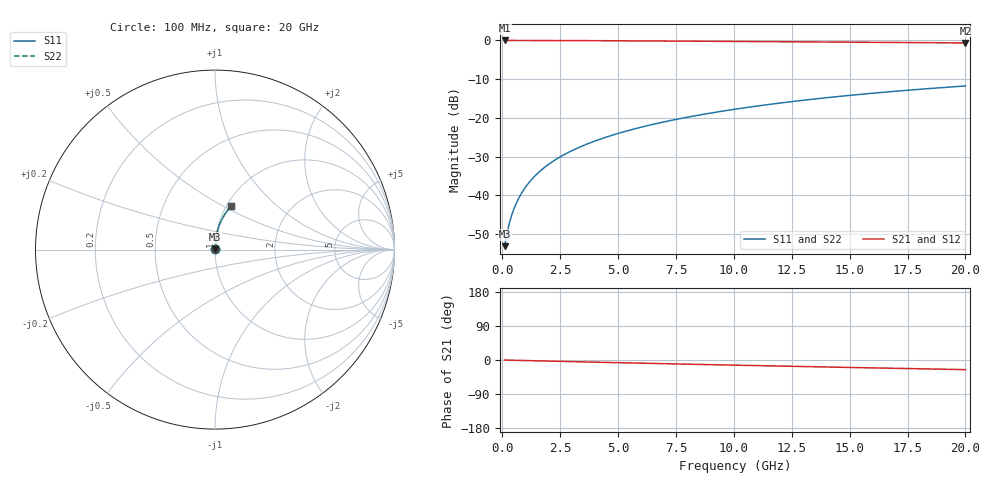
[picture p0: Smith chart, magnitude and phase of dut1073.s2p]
! Touchstone file exported from HFSS 2024.1.0
!  File:  C:/UserFiles/LocalFiles/RDL_TSV_Batchsim/temp_RDL_bottom_1073_1780052901.aedt
!  Generated:  07:10:38 PM May 29, 2026
!  Design:  RDL_bottom
!  Project:  temp_RDL_bottom_1073_1780052901
!  Setup:  Setup1
!  Solution:  Sweep
! Variables:
!  dtsv = 10.80580581um
!  hbump = 3um
!  htsv = 99.37um
!  ldown = 356.69um
!  lrdl = 100um
!  p = 40
!  p1 = 41.31um
!  rhole = 1um
!  t = 450um
!  tdown = 4.53um
!  trdl = 3.915915916um
!  wdown = 17.26um
!  wrdl = 20um
# GHz S MA R 50.000000
! Terminal data exported
! Port[1] = RDL1_T1
! Port[2] = RDL1_T2
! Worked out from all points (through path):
!   200 points, 100 MHz to 20 GHz, reference 50 ohm
!   highest |S21| = -0.02 dB at 100 MHz (marker M1); lowest = -0.7 dB at 20 GHz (marker M2)
!   group delay of S21, straight-line fit = 3.51 ps
!   lowest |S11| = -53.1 dB at 100 MHz (marker M3), VSWR 1.00, Z = 50.2 + j0.136 ohm
!   |S11| at or under -10 dB: start of sweep to end of sweep
!   |S22| runs from -53.1 to -11.8 dB; largest |S21 - S12| = 3.5e-15
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0.1  0.002219 37.7  0.9982 -0.2  0.9982 -0.2  0.002219 37.7
! Gamma 0 0 0 0
! Port Impedance 50 0 50 0
0.2  0.003221 55.2  0.9982 -0.3  0.9982 -0.3  0.003221 55.2
0.3  0.004337 64.0  0.9981 -0.4  0.9981 -0.4  0.004337 64.0
0.4  0.005495 69.2  0.998 -0.6  0.998 -0.6  0.005495 69.2
0.5  0.006679 72.7  0.9979 -0.7  0.9979 -0.7  0.006679 72.7
0.6  0.007881 75.2  0.9978 -0.9  0.9978 -0.9  0.007881 75.2
0.8  0.01032 78.3  0.9976 -1.2  0.9976 -1.2  0.01032 78.3
1.1  0.01402 81.0  0.9974 -1.6  0.9974 -1.6  0.01402 81.0
1.5  0.01899 82.8  0.9969 -2.2  0.9969 -2.2  0.01899 82.8
1.8  0.02273 83.5  0.9965 -2.6  0.9965 -2.6  0.02273 83.5
2.1  0.02647 84.0  0.996 -3.0  0.996 -3.0  0.02647 84.0
2.7  0.03398 84.5  0.9949 -3.9  0.9949 -3.9  0.03398 84.5
3.5  0.04404 84.7  0.993 -5.0  0.993 -5.0  0.04404 84.7
4.2  0.0529 84.7  0.9911 -6.0  0.9911 -6.0  0.0529 84.7
5  0.06312 84.5  0.9887 -7.1  0.9887 -7.1  0.06312 84.4
5.9  0.07474 84.0  0.9857 -8.3  0.9857 -8.3  0.07473 84.0
6.8  0.08648 83.5  0.9825 -9.5  0.9825 -9.5  0.08648 83.5
8.4  0.1076 82.2  0.9765 -11.6  0.9765 -11.6  0.1076 82.2
10.1  0.1303 80.6  0.9697 -13.7  0.9697 -13.7  0.1303 80.6
13.4  0.1744 77.0  0.9562 -17.8  0.9562 -17.8  0.1744 77.0
16.7  0.2174 73.2  0.942 -21.7  0.942 -21.7  0.2173 73.1
20  0.2585 69.2  0.9274 -25.4  0.9274 -25.4  0.2585 69.2
